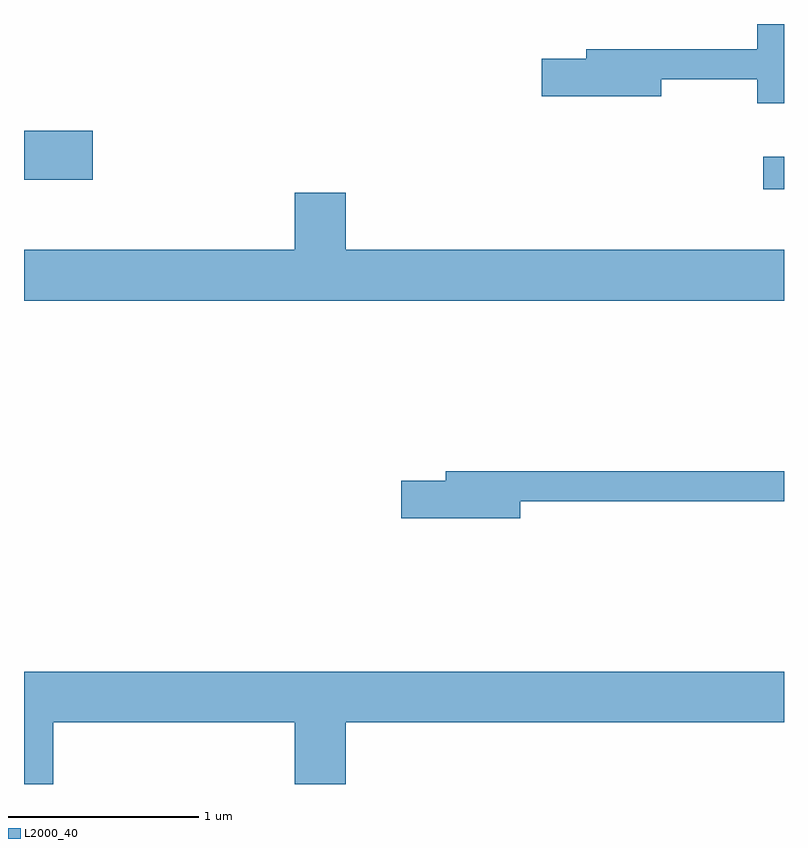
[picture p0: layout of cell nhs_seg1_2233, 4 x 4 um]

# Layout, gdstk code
import gdstk
lib = gdstk.Library(unit=1e-6, precision=1e-09)
def R(c, l, rs):  # rectangles x0, y0, x1, y1
    for r in rs: c.add(gdstk.rectangle(r[:2], r[2:], *l))
def P(c, l, *ps):  # polygons
    for p in ps: c.add(gdstk.Polygon(p, *l))
L2000_40 = (2000, 40)

nhs_seg1_2233 = lib.new_cell('nhs_seg1_2233')
R(nhs_seg1_2233, L2000_40, [(257.501,886.841,257.611,887.014), (253.611,886.891,253.974,887.149)])
P(nhs_seg1_2233, L2000_40, [(257.611,887.712),(257.471,887.712),(257.471,887.579),(256.571,887.579),(256.571,887.529),(256.336,887.529),(256.336,887.331),(256.964,887.331),(256.964,887.421),(257.471,887.421),(257.471,887.296),(257.611,887.296)],
  [(257.611,886.524),(255.304,886.524),(255.304,886.824),(255.036,886.824),(255.036,886.524),(253.611,886.524),(253.611,886.256),(257.611,886.256)],
  [(256.224,885.201),(257.611,885.201),(257.611,885.359),(255.831,885.359),(255.831,885.309),(255.596,885.309),(255.596,885.111),(256.224,885.111)],
  [(253.764,884.036),(255.036,884.036),(255.036,883.712),(255.304,883.712),(255.304,884.036),(257.611,884.036),(257.611,884.304),(253.611,884.304),(253.611,883.712),(253.764,883.712)])

lib.write_gds('nhs_seg1_2233.gds')
